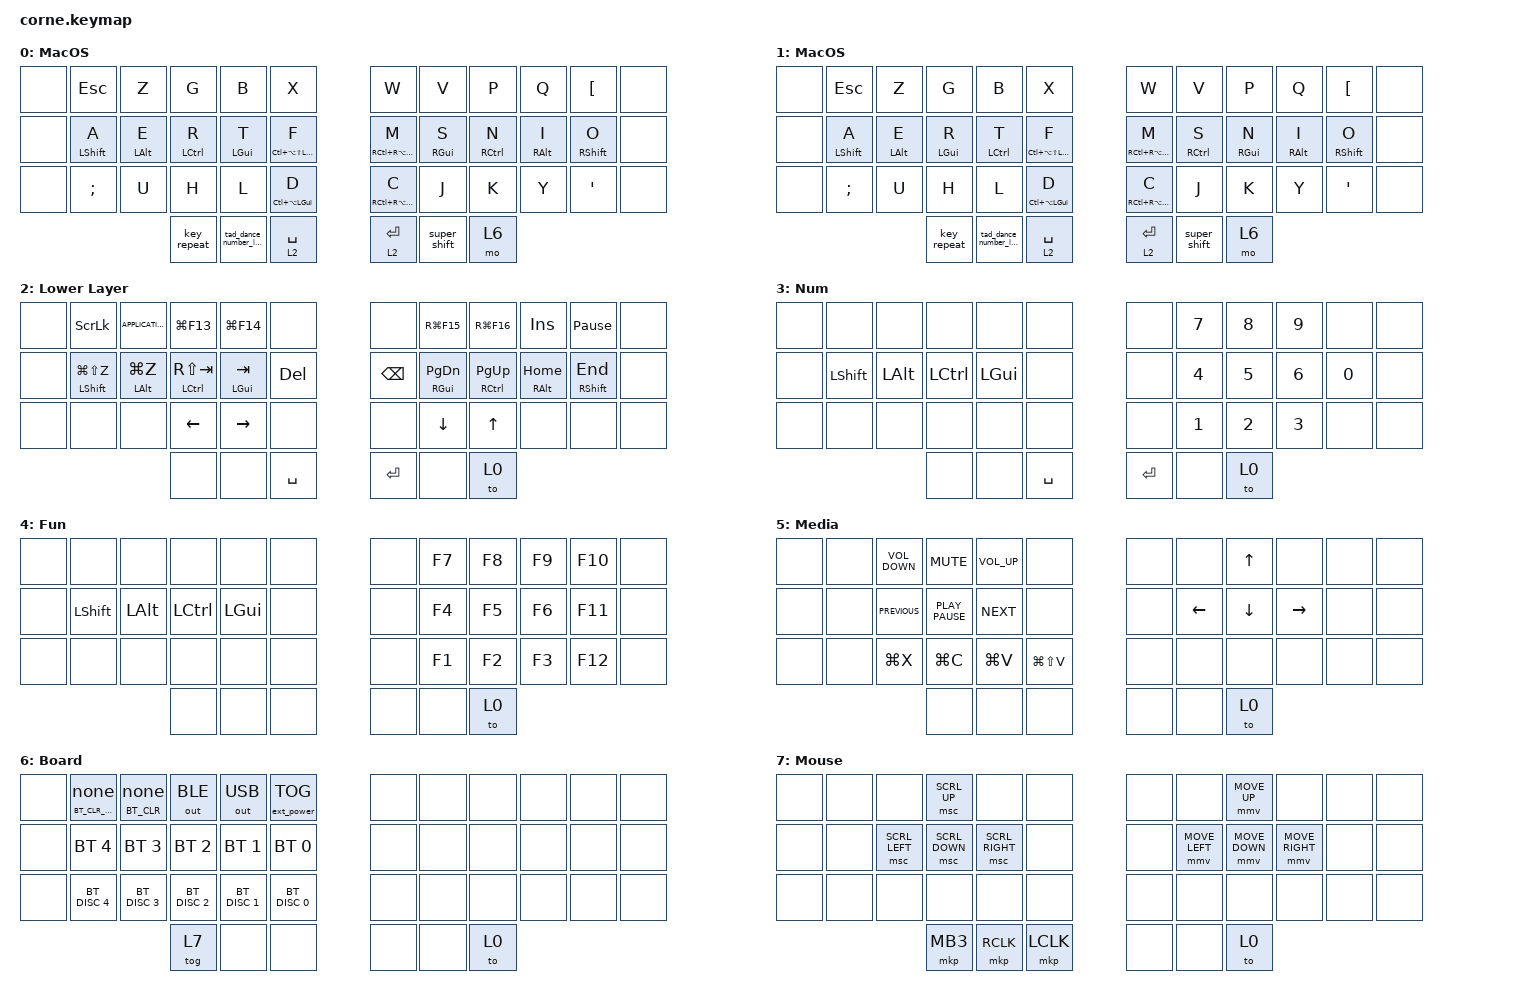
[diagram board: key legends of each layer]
/*
 * Copyright (c) 2020 The ZMK Contributors
 *
 * SPDX-License-Identifier: MIT
 */

#include <behaviors.dtsi>
#include <dt-bindings/zmk/bt.h>
#include <dt-bindings/zmk/ext_power.h>
#include <dt-bindings/zmk/keys.h>
#include <dt-bindings/zmk/outputs.h>
#include <dt-bindings/zmk/pointing.h>

/ {
    combos {
        compatible = "zmk,combos";

        combo_period_question {
            bindings = <&hold_tap_combo RS(PLUS) PERIOD>;
            key-positions = <4 16>;
        };

        combo_comma_exclamation {
            bindings = <&hold_tap_combo RS(NUMBER_1) COMMA>;
            key-positions = <16 28>;
        };

        combo_plus_equals {
            bindings = <&hold_tap_combo RS(NUMBER_0) PLUS>;
            key-positions = <3 15>;
        };

        combo_minus_underscore {
            bindings = <&hold_tap_combo RS(SLASH) SLASH>;
            key-positions = <15 27>;
        };

        combo_forwardslash_backslash {
            bindings = <&hold_tap_combo RS(RA(NUMBER_7)) RS(NUMBER_7)>;
            key-positions = <2 14>;
        };

        combo_asterisk_hash {
            bindings = <&hold_tap_combo RS(NUMBER_3) RS(SLASH)>;
            key-positions = <14 26>;
        };

        combo_euro_dollar {
            bindings = <&hold_tap_combo RA(NUMBER_4) RS(NUMBER_4)>;
            key-positions = <5 17>;
        };

        combo_at_caret {
            bindings = <&hold_tap_combo RS(RIGHT_BRACKET) RA(NUMBER_2)>;
            key-positions = <17 29>;
        };

        combo_left_parenthesis_brace {
            bindings = <&hold_tap_combo RA(RS(NUMBER_8)) RS(NUMBER_8)>;
            key-positions = <7 19>;
        };

        combo_left_bracket_lesser {
            bindings = <&hold_tap_combo GRAVE RA(NUMBER_8)>;
            key-positions = <19 31>;
        };

        combo_right_parenthesis_brace {
            bindings = <&hold_tap_combo RA(RS(NUMBER_9)) RS(NUMBER_9)>;
            key-positions = <8 20>;
        };

        combo_right_bracket_greater {
            bindings = <&hold_tap_combo RS(GRAVE) RA(NUMBER_9)>;
            key-positions = <20 32>;
        };

        combo_apostrophe_quote {
            bindings = <&hold_tap_combo RS(NUMBER_2) BACKSLASH>;
            key-positions = <9 21>;
        };

        combo_ampersand_percentage {
            bindings = <&hold_tap_combo RS(NUMBER_5) RS(NUMBER_6)>;
            key-positions = <21 33>;
        };

        combo_colon_semicolon {
            bindings = <&hold_tap_combo RS(COMMA) RS(PERIOD)>;
            key-positions = <6 18>;
        };

        combo_tilde_pipe {
            bindings = <&hold_tap_combo RA(NUMBER_7) RA(RIGHT_BRACKET)>;
            key-positions = <18 30>;
        };

        combo_tab {
            bindings = <&kp TAB>;
            key-positions = <16 15>;
        };

        combo_tab_back {
            bindings = <&kp LS(TAB)>;
            key-positions = <14 15>;
        };

        combo_backspace {
            bindings = <&kp BACKSPACE>;
            key-positions = <19 20>;
        };

        combo_delete {
            bindings = <&kp DELETE>;
            key-positions = <20 21>;
        };
    };

    behaviors {
        hold_tap_combo: hold_tap_combo {
            compatible = "zmk,behavior-hold-tap";
            label = "Hold-Tap combo behaviour";
            bindings = <&kp>, <&kp>;

            #binding-cells = <2>;
            tapping-term-ms = <200>;
            flavor = "tap-preferred";
            require-prior-idle-ms = <30>;
        };

        hold_tap_bluetooth: hold_tap_bluetooth {
            compatible = "zmk,behavior-hold-tap";
            label = "Hold-Tap bluetooth behaviour";
            bindings = <&bt>, <&none>;

            #binding-cells = <2>;
            tapping-term-ms = <2000>;
            flavor = "tap-preferred";
            require-prior-idle-ms = <1000>;
        };

        layer_tap_sticky: layer_tap_sticky {
            compatible = "zmk,behavior-hold-tap";
            label = "Layer-Tap sticky key";
            bindings = <&mo>, <&sk>;

            #binding-cells = <2>;
            tapping-term-ms = <200>;
            flavor = "hold-preferred";
        };

        super_shift: super_shift {
            compatible = "zmk,behavior-tap-dance";
            label = "Super Shift";
            #binding-cells = <0>;
            bindings =
                <&layer_tap_sticky 5 LEFT_SHIFT>,
                <&caps_word>,
                <&kp CAPSLOCK>;
        };

        tad_dance_number_layer: tad_dance_number_layer {
            compatible = "zmk,behavior-tap-dance";
            label = "Number-Function layer tap dance";
            #binding-cells = <0>;
            bindings = <&tog 3>, <&sl 4>;
        };
    };

    keymap {
        compatible = "zmk,keymap";

        macos_layer {
            display-name = "MacOS";

            // -----------------------------------------------------------------------------------------
            // |  TAB |  Q  |  W  |  E  |  R  |  T  |   |  Y  |  U   |  I  |  O  |  P  | BSPC |
            // | CTRL |  A  |  S  |  D  |  F  |  G  |   |  H  |  J   |  K  |  L  |  ;  |  '   |
            // | SHFT |  Z  |  X  |  C  |  V  |  B  |   |  N  |  M   |  ,  |  .  |  /  | ESC  |
            //                    | GUI | LWR | SPC |   | ENT | RSE  | ALT |

            bindings = <
&none  &kp ESCAPE        &kp Z           &kp G               &kp B                    &kp X                         &kp W                        &kp V            &kp P                &kp Q            &kp LEFT_BRACKET   &none
&none  &mt LEFT_SHIFT A  &mt LEFT_ALT E  &mt LEFT_CONTROL R  &mt LEFT_GUI T           &mt LC(LA(LS(LEFT_GUI))) F    &mt RC(RA(RS(RIGHT_GUI))) M  &mt RIGHT_GUI S  &mt RIGHT_CONTROL N  &mt RIGHT_ALT I  &mt RIGHT_SHIFT O  &none
&none  &kp SEMICOLON     &kp U           &kp H               &kp L                    &mt LC(LA(LEFT_GUI)) D        &mt RC(RA(RIGHT_GUI)) C      &kp J            &kp K                &kp Y            &kp APOSTROPHE     &none
                                         &key_repeat         &tad_dance_number_layer  &lt 2 SPACE                   &lt 2 ENTER                  &super_shift     &mo 6
            >;

            label = "MacOS";
        };

        pc_layer {
            label = "PC";
            display-name = "MacOS";
            bindings = <
&none  &kp ESCAPE        &kp Z           &kp G           &kp B                    &kp X                         &kp W                        &kp V                &kp P            &kp Q            &kp LEFT_BRACKET   &none
&none  &mt LEFT_SHIFT A  &mt LEFT_ALT E  &mt LEFT_GUI R  &mt LEFT_CONTROL T       &mt LC(LA(LS(LEFT_GUI))) F    &mt RC(RA(RS(RIGHT_GUI))) M  &mt RIGHT_CONTROL S  &mt RIGHT_GUI N  &mt RIGHT_ALT I  &mt RIGHT_SHIFT O  &none
&none  &kp SEMICOLON     &kp U           &kp H           &kp L                    &mt LC(LA(LEFT_GUI)) D        &mt RC(RA(RIGHT_GUI)) C      &kp J                &kp K            &kp Y            &kp APOSTROPHE     &none
                                         &key_repeat     &tad_dance_number_layer  &lt 2 SPACE                   &lt 2 ENTER                  &super_shift         &mo 6
            >;
        };

        navigation_layer {
            display-name = "Lower Layer";

            // -----------------------------------------------------------------------------------------
            // |  TAB |  1  |  2  |  3  |  4  |  5  |   |  6  |  7  |  8  |  9  |  0  | BSPC |
            // | BTCLR| BT1 | BT2 | BT3 | BT4 | BT5 |   | LFT | DWN |  UP | RGT |     |      |
            // | SHFT |     |     |     |     |     |   |     |     |     |     |     |      |
            //                    | GUI |     | SPC |   | ENT |     | ALT |

            bindings = <
&none  &kp SCROLLLOCK            &kp K_APPLICATION   &kp LG(F13)               &kp LG(F14)       &none         &none          &kp RG(F15)              &kp RG(F16)                &kp INSERT          &kp PAUSE_BREAK      &none
&none  &mt LEFT_SHIFT LG(LS(Z))  &mt LEFT_ALT LG(Z)  &mt LEFT_CONTROL RS(TAB)  &mt LEFT_GUI TAB  &kp DELETE    &kp BACKSPACE  &mt RIGHT_GUI PAGE_DOWN  &mt RIGHT_CONTROL PAGE_UP  &mt RIGHT_ALT HOME  &mt RIGHT_SHIFT END  &none
&none  &none                     &none               &kp LEFT_ARROW            &kp RIGHT_ARROW   &none         &none          &kp DOWN_ARROW           &kp UP_ARROW               &none               &none                &none
                                                     &none                     &none             &kp SPACE     &kp RET        &none                    &to 0
            >;

            label = "Nav";
        };

        number_layer {
            bindings = <
&none  &none           &none         &none             &none         &none        &none      &kp NUMBER_7  &kp NUMBER_8  &kp NUMBER_9  &none         &none
&none  &kp LEFT_SHIFT  &kp LEFT_ALT  &kp LEFT_CONTROL  &kp LEFT_GUI  &none        &none      &kp NUMBER_4  &kp NUMBER_5  &kp NUMBER_6  &kp NUMBER_0  &none
&none  &none           &none         &none             &none         &none        &none      &kp NUMBER_1  &kp NUMBER_2  &kp NUMBER_3  &none         &none
                                     &none             &none         &kp SPACE    &kp ENTER  &none         &to 0
            >;

            label = "Num";
        };

        function_layer {
            bindings = <
&none  &none           &none         &none             &none         &none    &none  &kp F7  &kp F8  &kp F9  &kp F10  &none
&none  &kp LEFT_SHIFT  &kp LEFT_ALT  &kp LEFT_CONTROL  &kp LEFT_GUI  &none    &none  &kp F4  &kp F5  &kp F6  &kp F11  &none
&none  &none           &none         &none             &none         &none    &none  &kp F1  &kp F2  &kp F3  &kp F12  &none
                                     &none             &none         &none    &none  &none   &to 0
            >;

            label = "Fun";
        };

        media_layer {
            bindings = <
&none  &none  &kp C_VOLUME_DOWN  &kp C_MUTE        &kp C_VOLUME_UP  &none            &none  &none     &kp UP    &none      &none  &none
&none  &none  &kp C_PREVIOUS     &kp K_PLAY_PAUSE  &kp C_NEXT       &none            &none  &kp LEFT  &kp DOWN  &kp RIGHT  &none  &none
&none  &none  &kp LG(X)          &kp LG(C)         &kp LG(V)        &kp LG(LS(V))    &none  &none     &none     &none      &none  &none
                                 &none             &none            &none            &none  &none     &to 0
            >;

            label = "Media";
        };

        board_layer {
            bindings = <
&none  &hold_tap_bluetooth BT_CLR_ALL 0  &hold_tap_bluetooth BT_CLR 0  &out OUT_BLE   &out OUT_USB   &ext_power EP_TOG    &none  &none  &none  &none  &none  &none
&none  &bt BT_SEL 4                      &bt BT_SEL 3                  &bt BT_SEL 2   &bt BT_SEL 1   &bt BT_SEL 0         &none  &none  &none  &none  &none  &none
&none  &bt BT_DISC 4                     &bt BT_DISC 3                 &bt BT_DISC 2  &bt BT_DISC 1  &bt BT_DISC 0        &none  &none  &none  &none  &none  &none
                                                                       &tog 7         &none          &none                &none  &none  &to 0
            >;

            label = "Board";
        };

        mouse_layer {
            bindings = <
&none  &none  &none           &msc SCRL_UP    &none            &none        &none  &none           &mmv MOVE_UP    &none            &none  &none
&none  &none  &msc SCRL_LEFT  &msc SCRL_DOWN  &msc SCRL_RIGHT  &none        &none  &mmv MOVE_LEFT  &mmv MOVE_DOWN  &mmv MOVE_RIGHT  &none  &none
&none  &none  &none           &none           &none            &none        &none  &none           &none           &none            &none  &none
                              &mkp MB3        &mkp RCLK        &mkp LCLK    &none  &none           &to 0
            >;

            label = "Mouse";
        };
    };
};
